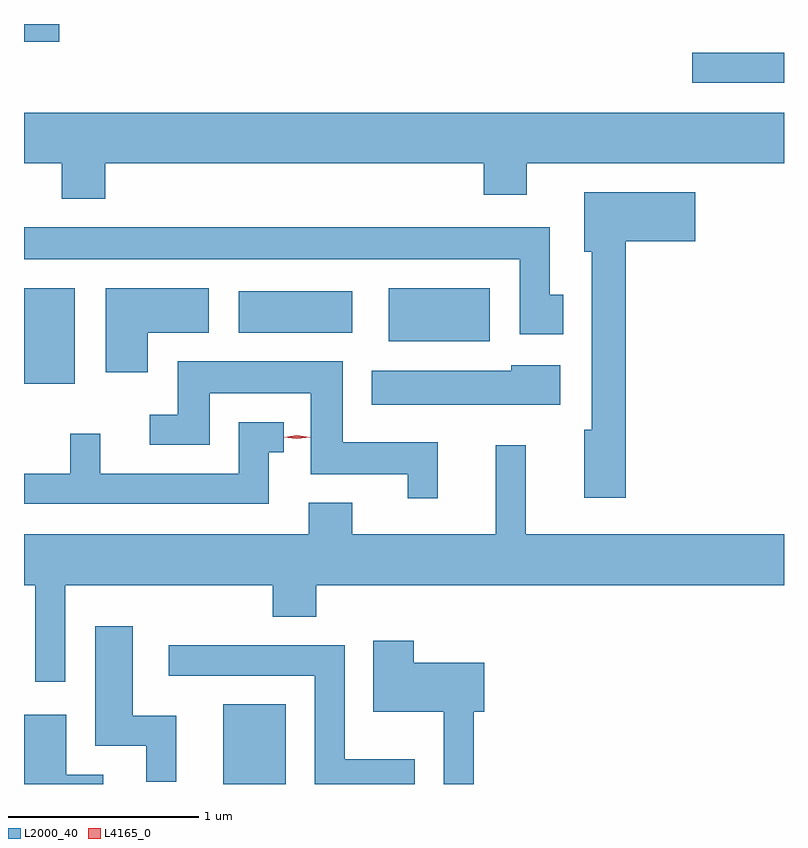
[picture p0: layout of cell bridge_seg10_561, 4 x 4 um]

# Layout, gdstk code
import gdstk
lib = gdstk.Library(unit=1e-6, precision=1e-09)
def R(c, l, rs):  # rectangles x0, y0, x1, y1
    for r in rs: c.add(gdstk.rectangle(r[:2], r[2:], *l))
def P(c, l, *ps):  # polygons
    for p in ps: c.add(gdstk.Polygon(p, *l))
L2000_40 = (2000, 40)
L4165_0 = (4165, 0)

bridge_seg10_561 = lib.new_cell('bridge_seg10_561')
R(bridge_seg10_561, L2000_40, [(681.431,2157.27,681.759,2157.689), (680.382,2159.376,680.649,2159.879), (682.301,2159.601,682.834,2159.879), (681.511,2159.646,682.109,2159.864), (683.898,2160.961,684.382,2161.119), (680.382,2161.176,680.568,2161.27)])
P(bridge_seg10_561, L2000_40, [(680.809,2160.536),(682.801,2160.536),(682.801,2160.371),(683.029,2160.371),(683.029,2160.536),(684.382,2160.536),(684.382,2160.804),(680.382,2160.804),(680.382,2160.536),(680.581,2160.536),(680.581,2160.351),(680.809,2160.351)],
  [(683.549,2160.126),(683.914,2160.126),(683.914,2160.384),(683.331,2160.384),(683.331,2160.071),(683.371,2160.071),(683.371,2159.134),(683.331,2159.134),(683.331,2158.776),(683.549,2158.776)],
  [(683.219,2159.844),(683.149,2159.844),(683.149,2160.199),(680.382,2160.199),(680.382,2160.031),(682.991,2160.031),(682.991,2159.636),(683.219,2159.636)],
  [(681.034,2159.646),(681.354,2159.646),(681.354,2159.879),(680.811,2159.879),(680.811,2159.436),(681.034,2159.436)],
  [(682.559,2159.069),(682.059,2159.069),(682.059,2159.494),(681.191,2159.494),(681.191,2159.214),(681.043,2159.214),(681.043,2159.056),(681.359,2159.056),(681.359,2159.326),(681.891,2159.326),(681.891,2158.901),(682.401,2158.901),(682.401,2158.773),(682.559,2158.773)],
  [(683.204,2159.474),(682.946,2159.474),(682.946,2159.444),(682.211,2159.444),(682.211,2159.266),(683.204,2159.266)],
  [(681.669,2159.016),(681.748,2159.016),(681.748,2159.174),(681.511,2159.174),(681.511,2158.904),(680.784,2158.904),(680.784,2159.113),(680.626,2159.113),(680.626,2158.904),(680.382,2158.904),(680.382,2158.746),(681.669,2158.746)],
  [(680.599,2158.316),(681.691,2158.316),(681.691,2158.151),(681.919,2158.151),(681.919,2158.316),(684.382,2158.316),(684.382,2158.584),(683.024,2158.584),(683.024,2159.053),(682.866,2159.053),(682.866,2158.584),(682.109,2158.584),(682.109,2158.749),(681.881,2158.749),(681.881,2158.584),(680.382,2158.584),(680.382,2158.316),(680.441,2158.316),(680.441,2157.808),(680.599,2157.808)],
  [(681.184,2157.629),(680.954,2157.629),(680.954,2158.099),(680.756,2158.099),(680.756,2157.471),(681.026,2157.471),(681.026,2157.283),(681.184,2157.283)],
  [(682.749,2157.651),(682.804,2157.651),(682.804,2157.909),(682.434,2157.909),(682.434,2158.024),(682.221,2158.024),(682.221,2157.651),(682.591,2157.651),(682.591,2157.27),(682.749,2157.27)],
  [(682.439,2157.399),(682.069,2157.399),(682.069,2157.999),(681.143,2157.999),(681.143,2157.841),(681.911,2157.841),(681.911,2157.27),(682.439,2157.27)],
  [(680.799,2157.319),(680.604,2157.319),(680.604,2157.634),(680.382,2157.634),(680.382,2157.27),(680.799,2157.27)])
P(bridge_seg10_561, L4165_0, [(681.818,2159.086),(681.749,2159.095),(681.749,2159.095),(681.749,2159.096),(681.818,2159.106),(681.888,2159.096),(681.888,2159.096),(681.888,2159.095)])

lib.write_gds('bridge_seg10_561.gds')
